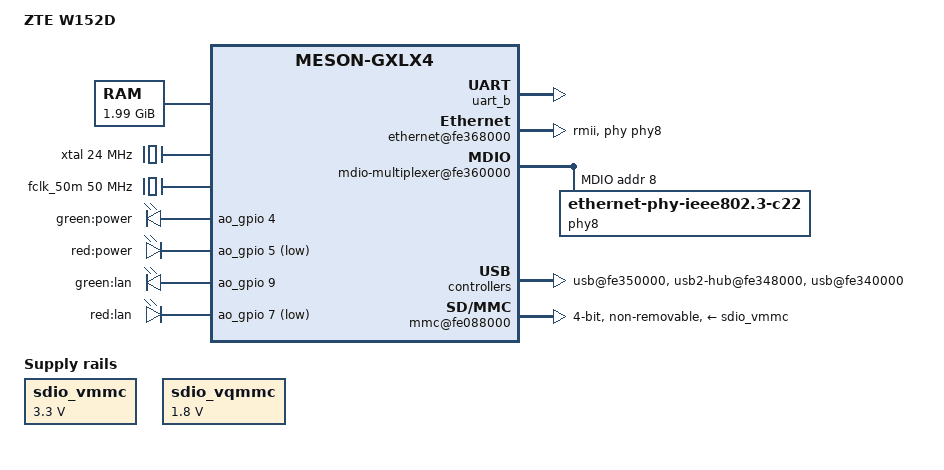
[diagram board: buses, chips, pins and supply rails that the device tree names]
// SPDX-License-Identifier: GPL-2.0+

/dts-v1/;

#include <dt-bindings/interrupt-controller/arm-gic.h>

/ {
	model = "ZTE W152D";
	compatible = "amlogic,gxlx4-s905l4-w150d", "amlogic,gxlx4";
	#address-cells = <2>;
	#size-cells = <2>;
	interrupt-parent = <&gic>;

	aliases {
		serial0 = &uart_b;
	};

	chosen {
		stdout-path = "serial0:921600n8";
	};

	/* RAM range after the boot firmware's fixup. */
	memory@0 {
		device_type = "memory";
		reg = <0x0 0x0 0x0 0x7f900000>;
	};

	reserved-memory {
		#address-cells = <2>;
		#size-cells = <2>;
		ranges;

		/* Keep the existing firmware and diagnostic carveouts out of the allocator. */
		iotrace@4f00000 {
			reg = <0x0 0x04f00000 0x0 0x100000>;
			no-map;
		};

		secmon@5000000 {
			reg = <0x0 0x05000000 0x0 0x3400000>;
			no-map;
		};

		ramoops@8400000 {
			reg = <0x0 0x08400000 0x0 0x100000>;
			no-map;
		};

		uboot-log@11000000 {
			reg = <0x0 0x11000000 0x0 0x40000>;
			no-map;
		};

		firmware-framebuffer@7f000000 {
			reg = <0x0 0x7f000000 0x0 0x800000>;
			no-map;
		};
	};

	cpus {
		#address-cells = <2>;
		#size-cells = <0>;

		cpu@0 {
			device_type = "cpu";
			compatible = "arm,cortex-a55";
			reg = <0 0>;
			enable-method = "psci";
		};

		cpu@1 {
			device_type = "cpu";
			compatible = "arm,cortex-a55";
			reg = <0 1>;
			enable-method = "psci";
		};

		cpu@2 {
			device_type = "cpu";
			compatible = "arm,cortex-a55";
			reg = <0 2>;
			enable-method = "psci";
		};

		cpu@3 {
			device_type = "cpu";
			compatible = "arm,cortex-a55";
			reg = <0 3>;
			enable-method = "psci";
		};
	};

	psci {
		compatible = "arm,psci-0.2";
		method = "smc";
	};

	timer {
		compatible = "arm,armv8-timer";
		interrupts = <GIC_PPI 13 (GIC_CPU_MASK_SIMPLE(4) | IRQ_TYPE_LEVEL_LOW)>,
			     <GIC_PPI 14 (GIC_CPU_MASK_SIMPLE(4) | IRQ_TYPE_LEVEL_LOW)>,
			     <GIC_PPI 11 (GIC_CPU_MASK_SIMPLE(4) | IRQ_TYPE_LEVEL_LOW)>,
			     <GIC_PPI 10 (GIC_CPU_MASK_SIMPLE(4) | IRQ_TYPE_LEVEL_LOW)>;
	};

	/* Preserve the working vendor GIC window for initial IRQ/timer bring-up. */
	gic: interrupt-controller@fff01000 {
		compatible = "arm,cortex-a15-gic", "arm,cortex-a9-gic";
		#interrupt-cells = <3>;
		#address-cells = <0>;
		interrupt-controller;
		reg = <0x0 0xfff01000 0x0 0x1000>,
		      <0x0 0xfff02000 0x0 0x100>;
		interrupts = <GIC_PPI 9 (GIC_CPU_MASK_SIMPLE(4) | IRQ_TYPE_LEVEL_HIGH)>;
	};

	xtal: clock-24000000 {
		compatible = "fixed-clock";
		#clock-cells = <0>;
		clock-frequency = <24000000>;
	};

	soc {
		compatible = "simple-bus";
		#address-cells = <2>;
		#size-cells = <2>;
		ranges;

		uart_b: serial@fe07a000 {
			compatible = "amlogic,meson-g12a-uart";
			reg = <0x0 0xfe07a000 0x0 0x18>;
			interrupts = <GIC_SPI 169 IRQ_TYPE_EDGE_RISING>;
			/* The pclk reference stands in for the firmware-enabled bus gate. */
			clocks = <&xtal>, <&xtal>, <&xtal>;
			clock-names = "xtal", "pclk", "baud";
		};
	};
};

&{/} {

	/* The board clock rates rely on the corresponding gates being enabled
	 * when the boot firmware hands over control.
	 */
	sys_clk: clock-166666000 {
		compatible = "fixed-clock";
		#clock-cells = <0>;
		clock-frequency = <166666000>;
	};

	fclk_div2: clock-1000000000 {
		compatible = "fixed-clock";
		#clock-cells = <0>;
		clock-frequency = <1000000000>;
	};

	fclk_50m: clock-50000000 {
		compatible = "fixed-clock";
		#clock-cells = <0>;
		clock-frequency = <50000000>;
	};
};

&{/soc} {
	ethernet@fe368000 {
		compatible = "amlogic,meson-axg-dwmac", "snps,dwmac-4.00";
		reg = <0x0 0xfe368000 0x0 0x12ec>,
		      <0x0 0xfe364000 0x0 0x2c>;
		interrupts = <GIC_SPI 74 IRQ_TYPE_LEVEL_HIGH>;
		interrupt-names = "macirq";
		clocks = <&sys_clk>, <&fclk_div2>, <&fclk_50m>;
		clock-names = "stmmaceth", "clkin0", "clkin1";
		rx-fifo-depth = <4096>;
		tx-fifo-depth = <2048>;
		phy-mode = "rmii";
		phy-handle = <&phy8>;

		mac_mdio: mdio {
			compatible = "snps,dwmac-mdio";
			#address-cells = <1>;
			#size-cells = <0>;
		};
	};

	mdio-multiplexer@fe360000 {
		compatible = "amlogic,g12a-mdio-mux";
		reg = <0x0 0xfe360000 0x0 0xa4>;
		clocks = <&sys_clk>, <&xtal>, <&fclk_50m>;
		clock-names = "pclk", "clkin0", "clkin1";
		mdio-parent-bus = <&mac_mdio>;
		#address-cells = <1>;
		#size-cells = <0>;

		mdio@1 {
			reg = <1>;
			#address-cells = <1>;
			#size-cells = <0>;

			phy8: ethernet-phy@8 {
				/* Let phylib read the ID over MDIO during this test. */
				compatible = "ethernet-phy-ieee802.3-c22";
				reg = <8>;
				max-speed = <100>;
				interrupts = <GIC_SPI 75 IRQ_TYPE_LEVEL_HIGH>;
			};
		};
	};
};

&{/} {

	usb-clock-166666000 {
		compatible = "fixed-clock";
		#clock-cells = <0>;
		clock-frequency = <166666000>;
		clock-output-names = "w152d-usb-sys";
	};

	clock-250000000 {
		compatible = "fixed-clock";
		#clock-cells = <0>;
		clock-frequency = <250000000>;
		clock-output-names = "w152d-usb-ref";
	};
};

&{/soc} {
	crg_clk: clock-controller@fe000048 {
		compatible = "amlogic,w152d-crg-clock-probe";
		reg = <0x0 0xfe000048 0x0 0x4>, <0x0 0xfe0001a0 0x0 0x4>;
		#clock-cells = <1>;
	};

	usb3-phy@fe35a000 {
		compatible = "amlogic,w152d-usb3-phy-probe";
		reg = <0x0 0xfe35a000 0x0 0x184>, <0x0 0xfe002000 0x0 0x100>,
		      <0x0 0xfe004184 0x0 0x8>,
		      <0x0 0xfe358000 0x0 0x10>, <0x0 0xfe350000 0x0 0x8000>;
		reg-names = "analog", "reset", "vbus-gpio", "usb2-companion", "crg";
		clocks = <&crg_clk 0>, <&crg_clk 2>;
		clock-names = "crg", "pipe";
	};

	usb@fe350000 {
		compatible = "generic-xhci";
		reg = <0x0 0xfe350000 0x0 0x8000>;
		interrupts = <GIC_SPI 131 IRQ_TYPE_EDGE_RISING>;
		clocks = <&crg_clk 0>;
	};

	usb2-hub@fe348000 {
		compatible = "amlogic,w152d-usb2-hub-probe";
		reg = <0x0 0xfe348000 0x0 0x10>, <0x0 0xfe004144 0x0 0x8>,
		      <0x0 0xfe004204 0x0 0x8>, <0x0 0xfe002000 0x0 0x100>,
		      <0x0 0xfe340000 0x0 0x8000>;
		reg-names = "phy", "hub-reset-gpio", "port-enable-gpio", "reset", "crg";
		clocks = <&crg_clk 1>;
	};

	usb@fe340000 {
		compatible = "generic-xhci";
		reg = <0x0 0xfe340000 0x0 0x8000>;
		interrupts = <GIC_SPI 130 IRQ_TYPE_EDGE_RISING>;
		clocks = <&crg_clk 1>;
	};
};

&{/} {

	sdio_bus_clk: sdio-clock-166666000 {
		compatible = "fixed-clock";
		#clock-cells = <0>;
		clock-frequency = <166666000>;
	};

	gp0_pll: clock-1152000000 {
		compatible = "fixed-clock";
		#clock-cells = <0>;
		clock-frequency = <1152000000>;
	};

	/* The boot script enables the rails before the kernel starts. */
	sdio_vmmc: regulator-sdio-vmmc {
		compatible = "regulator-fixed";
		regulator-name = "sdio-vmmc";
		regulator-min-microvolt = <3300000>;
		regulator-max-microvolt = <3300000>;
		regulator-always-on;
	};

	sdio_vqmmc: regulator-sdio-vqmmc {
		compatible = "regulator-fixed";
		regulator-name = "sdio-vqmmc";
		regulator-min-microvolt = <1800000>;
		regulator-max-microvolt = <1800000>;
		regulator-always-on;
	};
};

&{/soc} {
	mmc@fe088000 {
		compatible = "amlogic,meson-axg-mmc";
		reg = <0x0 0xfe088000 0x0 0x1000>;
		interrupts = <GIC_SPI 176 IRQ_TYPE_LEVEL_HIGH>;
		/* Reuse the bus gate and pinmux from the boot handoff. */
		clocks = <&sdio_bus_clk>, <&xtal>, <&gp0_pll>;
		clock-names = "core", "clkin0", "clkin1";
		vmmc-supply = <&sdio_vmmc>;
		vqmmc-supply = <&sdio_vqmmc>;
		bus-width = <4>;
		max-frequency = <25000000>;
		cap-sdio-irq;
		non-removable;
		no-mmc;
		no-sd;
	};
};

&{/} {

	/* The UWE5622 build uses CONFIG_WCN_PARSE_DTS and needs this node. */
	uwe-bsp {
		compatible = "unisoc,uwe_bsp";
		data-irq;
	};
};

&{/soc} {
	/* GXLX4 GPIO bank X input, output and direction registers. */
	wifi-gpio@fe004100 {
		compatible = "amlogic,w152d-wifi-gpio", "syscon";
		reg = <0x0 0xfe004100 0x0 0xc>;
	};
};

&{/soc/mmc@fe088000} {
	/* Adopt the firmware's pins without writing a pinmux register. */
	pinctrl-names = "default";
	pinctrl-0 = <>;
	max-frequency = <200000000>;
	cap-sd-highspeed;
	sd-uhs-sdr50;
	sd-uhs-sdr104;
};

#include <dt-bindings/gpio/gpio.h>

&{/soc} {
	ao_gpio: gpio@fe004180 {
		compatible = "amlogic,w152d-ao-gpio", "syscon";
		reg = <0x0 0xfe004180 0x0 0xc>;
		gpio-controller;
		#gpio-cells = <2>;
		gpio-reserved-ranges = <0 4>, <6 1>, <8 1>, <10 2>;
	};
};

&{/} {
	leds {
		compatible = "gpio-leds";

		led-power-green {
			label = "green:power";
			gpios = <&ao_gpio 4 GPIO_ACTIVE_HIGH>;
			default-state = "off";
		};

		led-power-red {
			label = "red:power";
			gpios = <&ao_gpio 5 GPIO_ACTIVE_LOW>;
			default-state = "on";
		};

		led-network-green {
			label = "green:lan";
			gpios = <&ao_gpio 9 GPIO_ACTIVE_HIGH>;
			default-state = "off";
		};

		led-network-red {
			label = "red:lan";
			gpios = <&ao_gpio 7 GPIO_ACTIVE_LOW>;
			default-state = "on";
		};
	};
};
